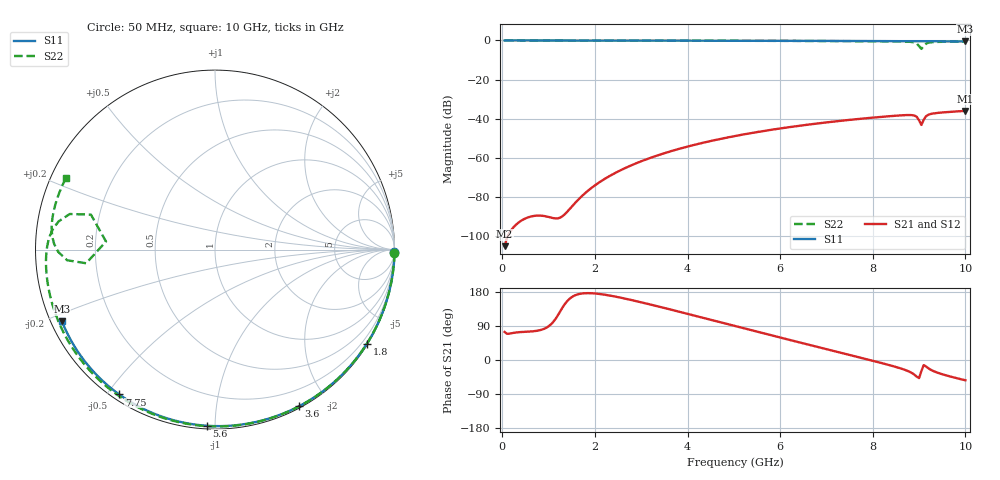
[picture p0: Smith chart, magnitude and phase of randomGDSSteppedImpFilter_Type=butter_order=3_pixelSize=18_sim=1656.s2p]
! freq	dB(S11)	phase(S11)	dB(S12)	phase(S12)
!  dB(S21)	phase(S21)	dB(S22)	phase(S22)
!S-par simulation data
#  GHz  S  DB  R 50
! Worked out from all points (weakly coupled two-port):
!   200 points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, 50 MHz to 10 GHz, reference 50 ohm
!   highest |S21| = -35.96 dB at 10 GHz (marker M1); lowest = -105.1 dB at 50 MHz (marker M2)
!   lowest |S11| = -0.5 dB at 10 GHz (marker M3), VSWR 33.33, Z = 1.57 - j11.1 ohm
!   |S11| at or under -10 dB: nowhere
!   |S22| runs from -4.3 to 0.0 dB; largest |S21 - S12| = 0
!   S11 on the Smith chart (normalised r, x): 50 MHz: open; 1.8 GHz: 0.03, -3.52; 3.6 GHz: 0.02, -1.67; 5.6 GHz: 0.02, -0.95; 7.75 GHz: 0.02, -0.54; 10 GHz: 0.03, -0.22
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0.05  -0.00 -0.9  -105.05 74.1  -105.05 74.1  -0.00 -1.1
0.8  -0.02 -14.3  -89.43 78.3  -89.43 78.3  -0.02 -17.8
1.65  -0.04 -29.2  -81.05 173.9  -81.05 173.9  -0.05 -36.2
1.75  -0.04 -30.9  -78.78 175.9  -78.78 175.9  -0.05 -38.4
1.8  -0.04 -31.7  -77.74 176.4  -77.74 176.4  -0.05 -39.4
2.1  -0.05 -36.9  -72.37 174.3  -72.37 174.3  -0.06 -45.8
2.45  -0.05 -42.8  -67.52 167.1  -67.52 167.1  -0.07 -53.2
3.4  -0.08 -58.6  -58.33 140.3  -58.33 140.3  -0.10 -72.7
3.6  -0.08 -61.8  -56.85 134.2  -56.85 134.2  -0.10 -76.7
5.05  -0.13 -84.5  -48.69 88.9  -48.69 88.9  -0.16 -105.1
5.6  -0.15 -92.7  -46.41 71.7  -46.41 71.7  -0.19 -115.7
6.7  -0.21 -108.7  -42.70 37.8  -42.70 37.8  -0.27 -136.8
7.75  -0.29 -123.5  -39.96 5.7  -39.96 5.7  -0.37 -158.0
8.35  -0.34 -131.8  -38.70 -13.2  -38.70 -13.2  -0.46 -171.3
8.85  -0.39 -138.8  -38.14 -34.7  -38.14 -34.7  -0.82 172.7
8.95  -0.40 -140.2  -38.99 -44.0  -38.99 -44.0  -1.58 166.2
9  -0.40 -140.8  -40.81 -47.7  -40.81 -47.7  -2.88 164.3
9.05  -0.41 -141.5  -43.14 -29.1  -43.14 -29.1  -4.31 175.8
9.1  -0.41 -142.2  -40.47 -13.4  -40.47 -13.4  -2.83 -173.9
9.15  -0.42 -142.9  -38.69 -17.1  -38.69 -17.1  -1.66 -175.9
9.25  -0.43 -144.3  -37.55 -25.6  -37.55 -25.6  -0.95 178.0
10  -0.52 -154.9  -35.96 -53.6  -35.96 -53.6  -0.71 154.3
